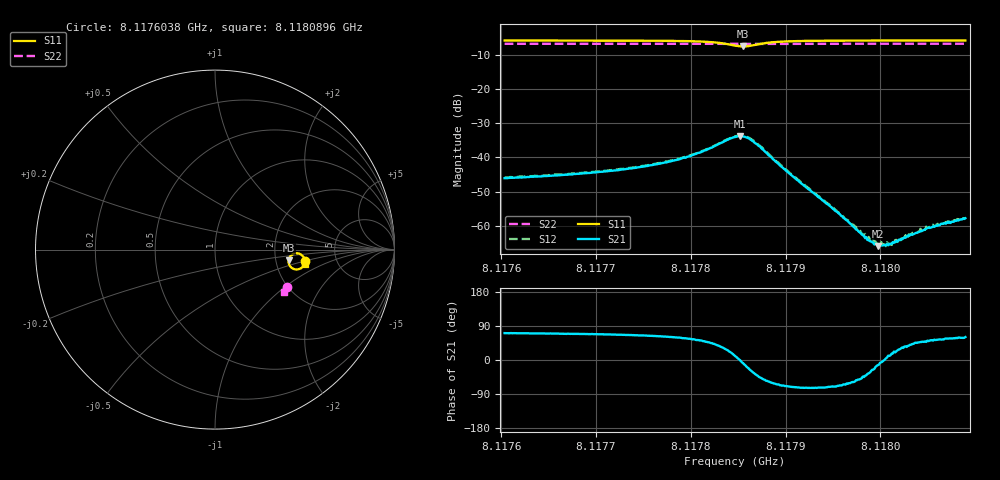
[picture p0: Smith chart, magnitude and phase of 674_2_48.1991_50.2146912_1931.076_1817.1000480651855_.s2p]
#  HZ  S  RI  R  50.00
! Rohde & Schwarz Vector Network Analyzer
! Rohde-Schwarz,ZNB20-2Port,1311601062101988,3.16
! Created: UTC 3/20/2024, 12:06:15 PM
! freq[Hz]  re:S11  im:S11  re:S21  im:S21  re:S12  im:S12  re:S22  im:S22
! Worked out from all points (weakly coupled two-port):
!   401 points, 8.1176038 GHz to 8.1180896 GHz, reference 50 ohm
!   highest |S21| = -33.82 dB at 8.1178515 GHz (marker M1); lowest = -65.8 dB at 8.1179973 GHz (marker M2)
!   lowest |S11| = -7.7 dB at 8.1178552 GHz (marker M3), VSWR 2.41, Z = 118 - j17.1 ohm
!   |S11| at or under -10 dB: nowhere
!   |S22| runs from -6.9 to -6.9 dB; largest |S21 - S12| = 0.00073
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8.1176038e9  0.5028 -0.0636  0.00162 0.0047  0.0017 0.00478  0.4021 -0.2081
8.11768517e9  0.5004 -0.0734  0.00212 0.0054  0.0022 0.00551  0.3996 -0.2135
8.11772524e9  0.4982 -0.0798  0.00262 0.00605  0.00274 0.0062  0.3983 -0.216
8.11776653e9  0.4937 -0.0888  0.00369 0.0072  0.00378 0.00732  0.3968 -0.2188
8.11780418e9  0.4816 -0.1019  0.00651 0.00905  0.00653 0.00911  0.3949 -0.2215
8.11783211e9  0.4495 -0.1107  0.0134 0.00929  0.0135 0.00949  0.3927 -0.2231
8.11784669e9  0.4172 -0.091  0.0194 0.00374  0.0199 0.00405  0.391 -0.2228
8.11785154e9  0.4103 -0.0745  0.0204 0.000174  0.0209 0.000334  0.3907 -0.2222
8.11785519e9  0.4097 -0.0602  0.0199 -0.00303  0.0205 -0.00282  0.3907 -0.222
8.11786126e9  0.4187 -0.0383  0.0175 -0.00728  0.0178 -0.00735  0.3911 -0.2213
8.11786733e9  0.4351 -0.0249  0.0133 -0.00964  0.0139 -0.00992  0.3919 -0.2214
8.11789041e9  0.4814 -0.0292  0.0037 -0.00762  0.00378 -0.00789  0.3931 -0.2234
8.11792805e9  0.4977 -0.0512  0.000884 -0.00298  0.00093 -0.00312  0.3924 -0.2267
8.1179572e9  0.5001 -0.0608  0.000582 -0.00136  0.000566 -0.00143  0.3915 -0.229
8.11798634e9  0.5008 -0.0674  0.0005 -0.000372  0.000496 -0.000386  0.3904 -0.231
8.11798877e9  0.5008 -0.0678  0.000502 -0.00033  0.000522 -0.000372  0.3904 -0.2311
8.11799727e9  0.5006 -0.0692  0.000499 -0.00012  0.000527 -0.000127  0.3903 -0.2318
8.11800335e9  0.5008 -0.0703  0.000523 -1.32e-05  0.000543 -2.34e-05  0.39 -0.2322
8.11800942e9  0.5007 -0.0714  0.000535 0.000103  0.000544 6.7e-05  0.3899 -0.2327
8.11805071e9  0.5004 -0.0773  0.000616 0.000726  0.000588 0.000749  0.3884 -0.2352
8.1180835e9  0.5 -0.0811  0.000634 0.00106  0.000648 0.0011  0.3873 -0.2374
8.11808957e9  0.4999 -0.082  0.000636 0.00113  0.00066 0.00111  0.3869 -0.2377
